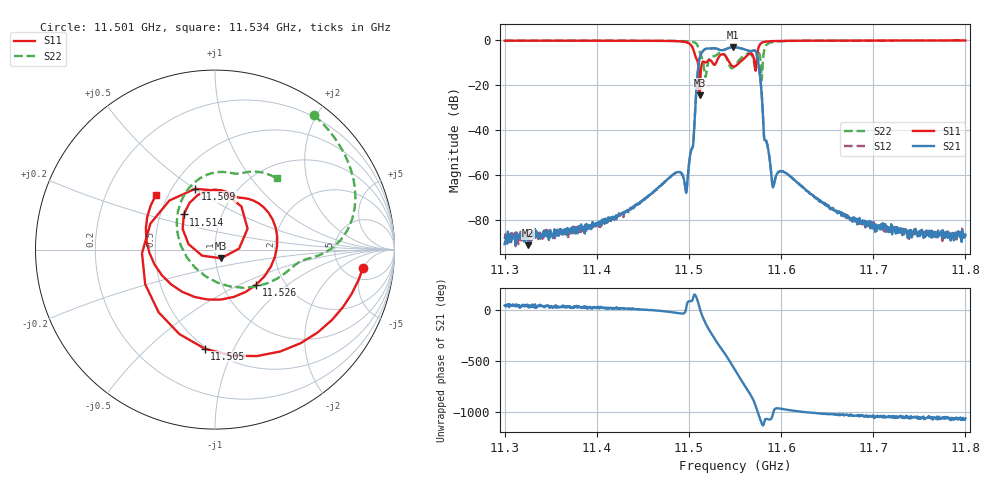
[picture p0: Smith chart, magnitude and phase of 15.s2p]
# Hz S DB R 50
! Planar, S50244, 24171007, 25.4.1/6
! Date: 15.10.2025 10:29:42
! Data: Format (Calibration Info)
! Freq	S11:dB/Ang(F2)	S21:dB/Ang(F2)	S12:dB/Ang(F2)	S22:dB/Ang(F2)
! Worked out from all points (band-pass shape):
!   1001 points, 11.3 GHz to 11.8 GHz, reference 50 ohm
!   highest |S21| = -3.15 dB at 11.548 GHz (marker M1); lowest = -91.1 dB at 11.325 GHz (marker M2)
!   |S21| within 3 dB of the highest: 11.513 GHz to 11.573 GHz (60.28 MHz wide, 0.522 % of centre)
!   lowest |S11| = -24.6 dB at 11.511 GHz (marker M3), VSWR 1.13, Z = 53.3 - j5.16 ohm
!   |S11| at or under -10 dB: 11.50962 GHz to 11.51445 GHz (4.833 MHz wide, 0.042 % of centre); 11.52537 GHz to 11.52963 GHz (4.262 MHz wide, 0.037 % of centre); 11.544 GHz to 11.5548 GHz (10.8 MHz wide, 0.0936 % of centre)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
!   |S22| runs from -17.8 to -0.2 dB; largest |S21 - S12| = 0.012
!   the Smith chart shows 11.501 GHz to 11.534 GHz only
!   S11 on the Smith chart (normalised r, x): 11.501 GHz: 7.47, -4.97; 11.505 GHz: 0.49, -0.78; 11.509 GHz: 0.65, +0.50; 11.514 GHz: 0.66, +0.28; 11.526 GHz: 1.43, -0.62; 11.534 GHz: 0.43, +0.33
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1.13e10  -0.32 145.0  -90.55 46.6  -87.23 71.8  -0.31 143.3
1.13255e10  -0.32 140.0  -91.06 51.2  -87.46 36.3  -0.31 138.7
1.13835e10  -0.33 126.4  -83.86 29.1  -83.74 30.0  -0.32 126.7
1.1467e10  -0.39 85.8  -65.34 -4.7  -65.41 -5.5  -0.34 95.5
1.15005e10  -1.61 -7.1  -53.47 88.6  -53.61 89.8  -0.63 53.5
1.15055e10  -5.12 -96.0  -40.67 149.6  -40.59 151.6  -0.98 35.4
1.1509e10  -8.97 108.0  -17.00 104.9  -16.80 104.8  -2.13 12.4
1.15115e10  -24.57 -54.8  -8.15 25.3  -8.04 25.4  -5.21 -4.5
1.15135e10  -11.63 131.6  -5.91 -32.4  -5.77 -32.9  -7.22 -13.9
1.15205e10  -9.20 52.0  -3.76 -171.0  -3.88 -171.4  -10.62 134.7
1.1526e10  -10.42 -40.7  -3.63 107.0  -3.73 107.9  -7.21 80.9
1.15335e10  -6.97 137.1  -4.41 3.3  -4.29 3.5  -5.60 49.2
1.1541e10  -7.84 38.6  -3.90 -94.3  -3.90 -95.2  -8.12 -30.0
1.1548e10  -11.78 -48.7  -3.15 160.5  -3.28 160.6  -12.26 -166.8
1.155e10  -11.68 -83.8  -3.18 130.2  -3.29 130.6  -11.28 164.2
1.15585e10  -8.74 105.6  -3.94 7.5  -3.96 7.5  -7.28 90.4
1.15655e10  -6.09 -24.4  -4.84 -91.5  -4.90 -90.9  -6.02 21.6
1.15735e10  -9.27 -42.7  -6.20 107.3  -6.22 107.5  -9.33 -20.3
1.15915e10  -0.50 -148.3  -65.18 74.4  -65.21 75.2  -0.87 -116.0
1.16335e10  -0.31 161.6  -68.61 71.8  -68.65 72.5  -0.32 165.6
1.1717e10  -0.25 130.2  -85.18 28.8  -84.13 36.0  -0.24 130.0
1.18e10  -0.22 112.7  -86.23 17.0  -87.33 27.5  -0.21 112.4
